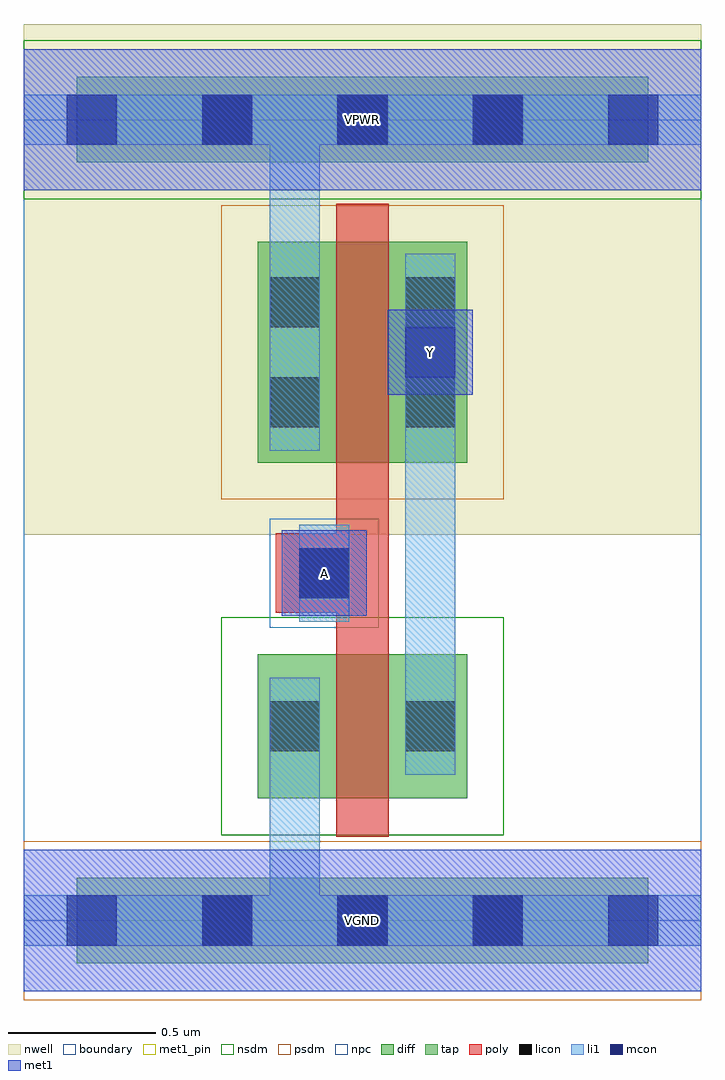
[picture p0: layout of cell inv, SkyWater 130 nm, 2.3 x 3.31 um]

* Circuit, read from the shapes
.subckt inv A VGND VPWR Y
XM1 Y A VGND VGND sky130_fd_pr__nfet_01v8 w=0.49 l=0.18
XM2 Y A VPWR VPWR sky130_fd_pr__pfet_01v8 w=0.75 l=0.18
.ends

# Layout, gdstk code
import gdstk
lib = gdstk.Library(unit=1e-6, precision=1e-09)
def R(c, l, rs):  # rectangles x0, y0, x1, y1
    for r in rs: c.add(gdstk.rectangle(r[:2], r[2:], *l))
def A(c, l, x, y, w, h, nx, ny, dx, dy):  # array of equal rectangles
    R(c, l, [(x+i*dx, y+j*dy, x+i*dx+w, y+j*dy+h) for i in range(nx) for j in range(ny)])
nwell = (64, 20)
diff = (65, 20)
tap = (65, 44)
poly = (66, 20)
licon = (66, 44)
li1 = (67, 20)
mcon = (67, 44)
met1_pin = (68, 16)
met1 = (68, 20)
nsdm = (93, 44)
psdm = (94, 20)
npc = (95, 20)
boundary = (235, 4)

inv = lib.new_cell('inv')
R(inv, nwell, [(0,1.31,2.3,3.045)])
R(inv, diff, [(0.795,0.415,1.505,0.905), (0.795,1.555,1.505,2.305)])
R(inv, tap, [(0.18,-0.145,2.12,0.145), (0.18,2.575,2.12,2.865)])
R(inv, poly, [(1.06,0.285,1.24,2.435), (0.855,1.045,1.185,1.315)])
A(inv, licon, 0.605, -0.085, 0.17, 0.17, 3, 2, 0.46, 2.72)
R(inv, licon, [(0.835,0.575,1.005,0.745), (1.295,0.575,1.465,0.745), (0.935,1.095,1.105,1.265), (0.835,1.675,1.005,1.845), (1.295,1.675,1.465,1.845), (0.835,2.015,1.005,2.185), (1.295,2.015,1.465,2.185)])
R(inv, li1, [(0,-0.085,2.3,0.085), (0.835,-0.085,1.005,0.825), (0.835,0.495,1.005,0.825), (1.295,0.495,1.465,0.825), (1.295,0.495,1.465,2.265), (0.935,1.015,1.105,1.345), (0.835,1.595,1.005,2.265), (0.835,1.595,1.005,2.805), (1.295,1.595,1.465,2.265), (0,2.635,2.3,2.805)])
A(inv, mcon, 0.145, -0.085, 0.17, 0.17, 5, 2, 0.46, 2.72)
R(inv, mcon, [(0.935,1.095,1.105,1.265), (1.295,1.845,1.465,2.015)])
R(inv, met1_pin, [(0,-0.24,2.3,0.24), (0.875,1.035,1.165,1.325), (1.235,1.785,1.525,2.075), (0,2.48,2.3,2.96)])
R(inv, met1, [(0,-0.24,2.3,0.24), (0.875,1.035,1.165,1.325), (1.235,1.785,1.525,2.075), (0,2.48,2.3,2.96)])
R(inv, nsdm, [(0.67,0.29,1.63,1.03), (0,2.45,2.3,2.99)])
R(inv, psdm, [(0,-0.27,2.3,0.27), (0.67,1.43,1.63,2.43)])
R(inv, npc, [(0.835,0.995,1.205,1.365)])
R(inv, boundary, [(0,0,2.3,2.72)])
inv.add(gdstk.Label('A', (1.02,1.18), layer=68, texttype=5))
inv.add(gdstk.Label('Y', (1.38,1.93), layer=68, texttype=5))
inv.add(gdstk.Label('VPWR', (1.15,2.72), layer=68, texttype=5))
inv.add(gdstk.Label('VGND', (1.15,0), layer=68, texttype=5))
inv.add(gdstk.Label('A', (1.02,1.18), layer=68, texttype=16))
inv.add(gdstk.Label('Y', (1.38,1.93), layer=68, texttype=16))
inv.add(gdstk.Label('VPWR', (1.15,2.72), layer=68, texttype=16))
inv.add(gdstk.Label('VGND', (1.15,0), layer=68, texttype=16))

lib.write_gds('inv.gds')
